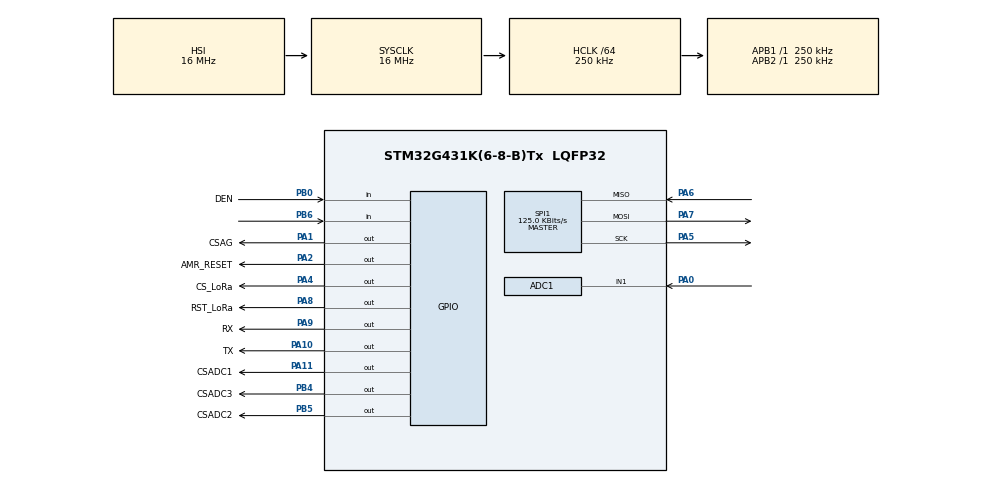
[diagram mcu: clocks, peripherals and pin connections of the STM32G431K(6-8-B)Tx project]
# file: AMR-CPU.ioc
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ADC1.AWD1HighThreshold=3972
ADC1.AWD1ITMode=ENABLE
ADC1.Channel-0\#ChannelRegularConversion=ADC_CHANNEL_1
ADC1.ContinuousConvMode=DISABLE
ADC1.EnableAnalogWatchDog1=true
ADC1.NbrOfConversionFlag=1
ADC1.OffsetNumber-0\#ChannelRegularConversion=ADC_OFFSET_NONE
ADC1.Rank-0\#ChannelRegularConversion=1
ADC1.SamplingTime-0\#ChannelRegularConversion=ADC_SAMPLETIME_2CYCLES_5
ADC1.WatchdogChannel=ADC_CHANNEL_1
ADC1.master=1
Mcu.Family=STM32G4
Mcu.Name=STM32G431K(6-8-B)Tx
Mcu.Package=LQFP32
NVIC.ADC1_2_IRQn=true\:0\:0\:false\:false\:true\:true\:true\:true
NVIC.PriorityGroup=NVIC_PRIORITYGROUP_4
PA0.Mode=IN1-Single-Ended
PA0.Signal=ADC1_IN1
PA1.GPIO_Label=CSAG
PA1.PinState=GPIO_PIN_SET
PA1.Signal=GPIO_Output
PA10.GPIO_Label=TX
PA10.Signal=GPIO_Output
PA11.GPIO_Label=CSADC1
PA11.PinState=GPIO_PIN_SET
PA11.Signal=GPIO_Output
PA2.GPIO_Label=AMR_RESET
PA2.Signal=GPIO_Output
PA4.GPIO_Label=CS_LoRa
PA4.PinState=GPIO_PIN_SET
PA4.Signal=GPIO_Output
PA5.Mode=Full_Duplex_Master
PA5.Signal=SPI1_SCK
PA6.Mode=Full_Duplex_Master
PA6.Signal=SPI1_MISO
PA7.Mode=Full_Duplex_Master
PA7.Signal=SPI1_MOSI
PA8.GPIO_Label=RST_LoRa
PA8.Signal=GPIO_Output
PA9.GPIO_Label=RX
PA9.Signal=GPIO_Output
PB0.GPIO_Label=DEN
PB0.Signal=GPIO_Input
PB4.GPIO_Label=CSADC3
PB4.PinState=GPIO_PIN_SET
PB4.Signal=GPIO_Output
PB5.GPIO_Label=CSADC2
PB5.PinState=GPIO_PIN_SET
PB5.Signal=GPIO_Output
PB6.Signal=GPIO_Input
ProjectManager.HeapSize=0x200
ProjectManager.StackSize=0x400
ProjectManager.TargetToolchain=STM32CubeIDE
RCC.ADC12Freq_Value=16000000
RCC.AHBCLKDivider=RCC_SYSCLK_DIV64
RCC.AHBFreq_Value=250000
RCC.APB1Freq_Value=250000
RCC.APB1TimFreq_Value=250000
RCC.APB2Freq_Value=250000
RCC.APB2TimFreq_Value=250000
RCC.CortexFreq_Value=250000
RCC.EXTERNAL_CLOCK_VALUE=12288000
RCC.HCLKFreq_Value=250000
RCC.HSE_VALUE=8000000
RCC.HSI48_VALUE=48000000
RCC.HSI_VALUE=16000000
RCC.LSE_VALUE=32768
RCC.SYSCLKFreq_VALUE=16000000
RCC.USBFreq_Value=64000000
RCC.VCOOutputFreq_Value=128000000
SPI1.BaudRatePrescaler=SPI_BAUDRATEPRESCALER_2
SPI1.CalculateBaudRate=125.0 KBits/s
SPI1.DataSize=SPI_DATASIZE_8BIT
SPI1.Direction=SPI_DIRECTION_2LINES
SPI1.Mode=SPI_MODE_MASTER
SPI1.NSSPMode=SPI_NSS_PULSE_DISABLE
SPI1.VirtualType=VM_MASTER
VP_SYS_VS_DBSignals.Mode=DisableDeadBatterySignals
board=custom

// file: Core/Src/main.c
/* USER CODE BEGIN Header */
/**
  ******************************************************************************
  * @file           : main.c
  * @brief          : Main program body
  ******************************************************************************
  * @attention
  *
  * Copyright (c) 2024 STMicroelectronics.
  * All rights reserved.
  *
  * This software is licensed under terms that can be found in the LICENSE file
  * in the root directory of this software component.
  * If no LICENSE file comes with this software, it is provided AS-IS.
  *
  ******************************************************************************
  */
/* USER CODE END Header */
#include "main.h"

/* USER CODE BEGIN Includes */
#include <stdio.h>
#include "tilt.h"
#include "adc.h"
#include "lora.h"

/* USER CODE END Includes */

/* USER CODE BEGIN PTD */
adc_t adc1;
adc_t adc2;
adc_t adc3;
/* USER CODE END PTD */

ADC_HandleTypeDef hadc1;

SPI_HandleTypeDef hspi1;

void SystemClock_Config(void);
static void MX_GPIO_Init(void);
static void MX_ADC1_Init(void);
static void MX_SPI1_Init(void);
/* USER CODE BEGIN PFP */
float read_battery(ADC_HandleTypeDef *hadc);
void transmit_data(SPI_HandleTypeDef* spi, char* data);
void get_measurements(SPI_HandleTypeDef* spi, adc_t adcx, adc_t adcy, adc_t adcz, char* data);
/* USER CODE END PFP */

int main(void)
{

  /* MCU Configuration--------------------------------------------------------*/

  /* Reset of all peripherals, Initializes the Flash interface and the Systick. */
  HAL_Init();

  /* Configure the system clock */
  SystemClock_Config();

  /* Initialize all configured peripherals */
  MX_GPIO_Init();
  MX_ADC1_Init();
  MX_SPI1_Init();
  /* USER CODE BEGIN 2 */
  HAL_PWREx_EnableLowPowerRunMode(); // enable low power run
  LSM9DS1_Init(&hspi1);
  ADC_Init(&adc1,&adc2,&adc3);
  //LoRa_reset();
  LoRa_init(&hspi1);

  HAL_GPIO_WritePin(GPIOA, TX_Pin, GPIO_PIN_SET);  // Enable TX path
  HAL_GPIO_WritePin(GPIOA, RX_Pin,GPIO_PIN_RESET); // Disable RX path

  char tx_data[100];
  float battery;
  uint8_t low_battery = 0;
  uint8_t first = 1; // To check for first measurement to bypass delay in first while loop

  // Initialize delay
  uint32_t tickstart = HAL_GetTick();
  uint32_t wait = 1500; // Time to wait between each measurement + transmission
  /* Add a freq to guarantee minimum wait */
  if (wait < HAL_MAX_DELAY){
  	  wait += (uint32_t)(uwTickFreq);
  	  }

  /* USER CODE END 2 */

  /* Infinite loop */
  /* USER CODE BEGIN WHILE */
  while (1)
  {
	  battery = read_battery(&hadc1);

	  if(battery < 3.1 && low_battery){
		  break;
	  }	else if(battery < 3.1){
		  low_battery = 1;
		  strcpy(tx_data, "");
		  sprintf(tx_data,"Battery low");
		  transmit_data(&hspi1, tx_data);
		  break;
	  } else if(!((HAL_GetTick() - tickstart) < wait) || first){
		  if(first){
			  first = 0;
			  HAL_Delay(1000);
		  }

		  low_battery = 0;
		  // Set reset of AMR-sensors
		  HAL_GPIO_WritePin(GPIOA, AMR_RESET_Pin,GPIO_PIN_SET);
		  HAL_GPIO_WritePin(GPIOA, AMR_RESET_Pin,GPIO_PIN_RESET);

		  // Sensor measurements, calculations and transmission of data
		  get_measurements(&hspi1,adc3,adc2,adc1,tx_data);
		  transmit_data(&hspi1, tx_data);

		  // Restart delay
		  tickstart = HAL_GetTick();
		  wait = 1500;
		  if (wait < HAL_MAX_DELAY){
			  wait += (uint32_t)(uwTickFreq);
			  }
	  }

    /* USER CODE END WHILE */

  }
}

void SystemClock_Config(void)
{
  RCC_OscInitTypeDef RCC_OscInitStruct = {0};
  RCC_ClkInitTypeDef RCC_ClkInitStruct = {0};

  /** Configure the main internal regulator output voltage
  */
  HAL_PWREx_ControlVoltageScaling(PWR_REGULATOR_VOLTAGE_SCALE1);

  /** Initializes the RCC Oscillators according to the specified parameters
  * in the RCC_OscInitTypeDef structure.
  */
  RCC_OscInitStruct.OscillatorType = RCC_OSCILLATORTYPE_HSI;
  RCC_OscInitStruct.HSIState = RCC_HSI_ON;
  RCC_OscInitStruct.HSICalibrationValue = RCC_HSICALIBRATION_DEFAULT;
  RCC_OscInitStruct.PLL.PLLState = RCC_PLL_NONE;
  if (HAL_RCC_OscConfig(&RCC_OscInitStruct) != HAL_OK)
  {
    Error_Handler();
  }

  /** Initializes the CPU, AHB and APB buses clocks
  */
  RCC_ClkInitStruct.ClockType = RCC_CLOCKTYPE_HCLK|RCC_CLOCKTYPE_SYSCLK
                              |RCC_CLOCKTYPE_PCLK1|RCC_CLOCKTYPE_PCLK2;
  RCC_ClkInitStruct.SYSCLKSource = RCC_SYSCLKSOURCE_HSI;
  RCC_ClkInitStruct.AHBCLKDivider = RCC_SYSCLK_DIV64;
  RCC_ClkInitStruct.APB1CLKDivider = RCC_HCLK_DIV1;
  RCC_ClkInitStruct.APB2CLKDivider = RCC_HCLK_DIV1;

  if (HAL_RCC_ClockConfig(&RCC_ClkInitStruct, FLASH_LATENCY_0) != HAL_OK)
  {
    Error_Handler();
  }
}

static void MX_ADC1_Init(void)
{

  ADC_MultiModeTypeDef multimode = {0};
  ADC_AnalogWDGConfTypeDef AnalogWDGConfig = {0};
  ADC_ChannelConfTypeDef sConfig = {0};

  /** Common config
  */
  hadc1.Instance = ADC1;
  hadc1.Init.ClockPrescaler = ADC_CLOCK_ASYNC_DIV1;
  hadc1.Init.Resolution = ADC_RESOLUTION_12B;
  hadc1.Init.DataAlign = ADC_DATAALIGN_RIGHT;
  hadc1.Init.GainCompensation = 0;
  hadc1.Init.ScanConvMode = ADC_SCAN_DISABLE;
  hadc1.Init.EOCSelection = ADC_EOC_SINGLE_CONV;
  hadc1.Init.LowPowerAutoWait = DISABLE;
  hadc1.Init.ContinuousConvMode = DISABLE;
  hadc1.Init.NbrOfConversion = 1;
  hadc1.Init.DiscontinuousConvMode = DISABLE;
  hadc1.Init.ExternalTrigConv = ADC_SOFTWARE_START;
  hadc1.Init.ExternalTrigConvEdge = ADC_EXTERNALTRIGCONVEDGE_NONE;
  hadc1.Init.DMAContinuousRequests = DISABLE;
  hadc1.Init.Overrun = ADC_OVR_DATA_PRESERVED;
  hadc1.Init.OversamplingMode = DISABLE;
  if (HAL_ADC_Init(&hadc1) != HAL_OK)
  {
    Error_Handler();
  }

  /** Configure the ADC multi-mode
  */
  multimode.Mode = ADC_MODE_INDEPENDENT;
  if (HAL_ADCEx_MultiModeConfigChannel(&hadc1, &multimode) != HAL_OK)
  {
    Error_Handler();
  }

  /** Configure Analog WatchDog 1
  */
  AnalogWDGConfig.WatchdogNumber = ADC_ANALOGWATCHDOG_1;
  AnalogWDGConfig.WatchdogMode = ADC_ANALOGWATCHDOG_SINGLE_REG;
  AnalogWDGConfig.Channel = ADC_CHANNEL_1;
  AnalogWDGConfig.ITMode = ENABLE;
  AnalogWDGConfig.HighThreshold = 3972;
  AnalogWDGConfig.LowThreshold = 0;
  AnalogWDGConfig.FilteringConfig = ADC_AWD_FILTERING_NONE;
  if (HAL_ADC_AnalogWDGConfig(&hadc1, &AnalogWDGConfig) != HAL_OK)
  {
    Error_Handler();
  }

  /** Configure Regular Channel
  */
  sConfig.Channel = ADC_CHANNEL_1;
  sConfig.Rank = ADC_REGULAR_RANK_1;
  sConfig.SamplingTime = ADC_SAMPLETIME_2CYCLES_5;
  sConfig.SingleDiff = ADC_SINGLE_ENDED;
  sConfig.OffsetNumber = ADC_OFFSET_NONE;
  sConfig.Offset = 0;
  if (HAL_ADC_ConfigChannel(&hadc1, &sConfig) != HAL_OK)
  {
    Error_Handler();
  }

}

static void MX_SPI1_Init(void)
{

  /* SPI1 parameter configuration*/
  hspi1.Instance = SPI1;
  hspi1.Init.Mode = SPI_MODE_MASTER;
  hspi1.Init.Direction = SPI_DIRECTION_2LINES;
  hspi1.Init.DataSize = SPI_DATASIZE_8BIT;
  hspi1.Init.CLKPolarity = SPI_POLARITY_LOW;
  hspi1.Init.CLKPhase = SPI_PHASE_1EDGE;
  hspi1.Init.NSS = SPI_NSS_SOFT;
  hspi1.Init.BaudRatePrescaler = SPI_BAUDRATEPRESCALER_2;
  hspi1.Init.FirstBit = SPI_FIRSTBIT_MSB;
  hspi1.Init.TIMode = SPI_TIMODE_DISABLE;
  hspi1.Init.CRCCalculation = SPI_CRCCALCULATION_DISABLE;
  hspi1.Init.CRCPolynomial = 7;
  hspi1.Init.CRCLength = SPI_CRC_LENGTH_DATASIZE;
  hspi1.Init.NSSPMode = SPI_NSS_PULSE_DISABLE;
  if (HAL_SPI_Init(&hspi1) != HAL_OK)
  {
    Error_Handler();
  }

}

static void MX_GPIO_Init(void)
{
  GPIO_InitTypeDef GPIO_InitStruct = {0};

  /* GPIO Ports Clock Enable */
  __HAL_RCC_GPIOA_CLK_ENABLE();
  __HAL_RCC_GPIOB_CLK_ENABLE();

  /*Configure GPIO pin Output Level */
  HAL_GPIO_WritePin(GPIOA, CSAG_Pin|CS_LoRa_Pin|CSADC1_Pin, GPIO_PIN_SET);

  /*Configure GPIO pin Output Level */
  HAL_GPIO_WritePin(GPIOA, AMR_RESET_Pin|RST_LoRa_Pin|RX_Pin|TX_Pin, GPIO_PIN_RESET);

  /*Configure GPIO pin Output Level */
  HAL_GPIO_WritePin(GPIOB, CSADC3_Pin|CSADC2_Pin, GPIO_PIN_SET);

  /*Configure GPIO pins : CSAG_Pin AMR_RESET_Pin CS_LoRa_Pin RST_LoRa_Pin
                           RX_Pin TX_Pin CSADC1_Pin */
  GPIO_InitStruct.Pin = CSAG_Pin|AMR_RESET_Pin|CS_LoRa_Pin|RST_LoRa_Pin
                          |RX_Pin|TX_Pin|CSADC1_Pin;
  GPIO_InitStruct.Mode = GPIO_MODE_OUTPUT_PP;
  GPIO_InitStruct.Pull = GPIO_NOPULL;
  GPIO_InitStruct.Speed = GPIO_SPEED_FREQ_LOW;
  HAL_GPIO_Init(GPIOA, &GPIO_InitStruct);

  /*Configure GPIO pins : DEN_Pin PB6 */
  GPIO_InitStruct.Pin = DEN_Pin|GPIO_PIN_6;
  GPIO_InitStruct.Mode = GPIO_MODE_INPUT;
  GPIO_InitStruct.Pull = GPIO_NOPULL;
  HAL_GPIO_Init(GPIOB, &GPIO_InitStruct);

  /*Configure GPIO pins : CSADC3_Pin CSADC2_Pin */
  GPIO_InitStruct.Pin = CSADC3_Pin|CSADC2_Pin;
  GPIO_InitStruct.Mode = GPIO_MODE_OUTPUT_PP;
  GPIO_InitStruct.Pull = GPIO_NOPULL;
  GPIO_InitStruct.Speed = GPIO_SPEED_FREQ_LOW;
  HAL_GPIO_Init(GPIOB, &GPIO_InitStruct);

}

/* USER CODE BEGIN 4 */
float read_battery(ADC_HandleTypeDef *hadc){
	uint16_t adc_read;
	HAL_ADC_Start(hadc);
	HAL_ADC_PollForConversion(hadc,HAL_MAX_DELAY);
	adc_read = HAL_ADC_GetValue(hadc);

	return (float)(adc_read*3.3)/4096;
}

void transmit_data(SPI_HandleTypeDef* spi, char* data){
	  uint8_t addr = RegIrqFlags;
	  LoRa_set_mode(spi,stdby_mode);
	  HAL_Delay(10);

	  LoRa_fill_fifo(spi, data, strlen(data));
	  LoRa_set_mode(spi, tx_mode);
	  HAL_Delay(10);
	  if(LoRa_read_reg(spi, addr) & 0x08){
		  LoRa_write_reg(spi,addr,0x08);
		  HAL_Delay(10);
	  }
	  HAL_Delay(10);
	  LoRa_set_mode(spi,sleep_mode);
	  HAL_Delay(10);
}

void get_measurements(SPI_HandleTypeDef* spi, adc_t adcx, adc_t adcy, adc_t adcz, char* data){
	  double tilt = 0;
	  float magx, magy, magz = 0.0;
	  float vol1, vol2, vol3;
	  uint16_t adcval1, adcval2, adcval3;

	  tilt = get_tilt(spi);

	  magx = get_magx(spi, adcx);
	  magy = get_magy(spi,adcy);
	  magz = get_magz(spi,adcz);

	  adcval1 = LTC2452_Read(spi, adcx);
	  adcval2 = LTC2452_Read(spi, adcy);
	  adcval3 = LTC2452_Read(spi, adcz);

	  vol1 = convVol(adcval1,3.3);
	  vol2 = convVol2(adcval2,3.3);
	  vol3 = convVol2(adcval3,3.3);

	  sprintf(data,"Volx: %4.3f\n\rX: %4.3f %cT\n\rVoly: %4.3f\n\rY: %4.3f %cT\n\rVolz: %4.3f\n\rZ: %4.3f %cT\n\rTilt: %4.2f%c",vol1,magx,0xE6,vol2, magy,0xE6, vol3,magz,0xE6,tilt, 0xA7);
}

/* USER CODE END 4 */

void Error_Handler(void)
{
  __disable_irq();
  while (1)
  {
  }
}
